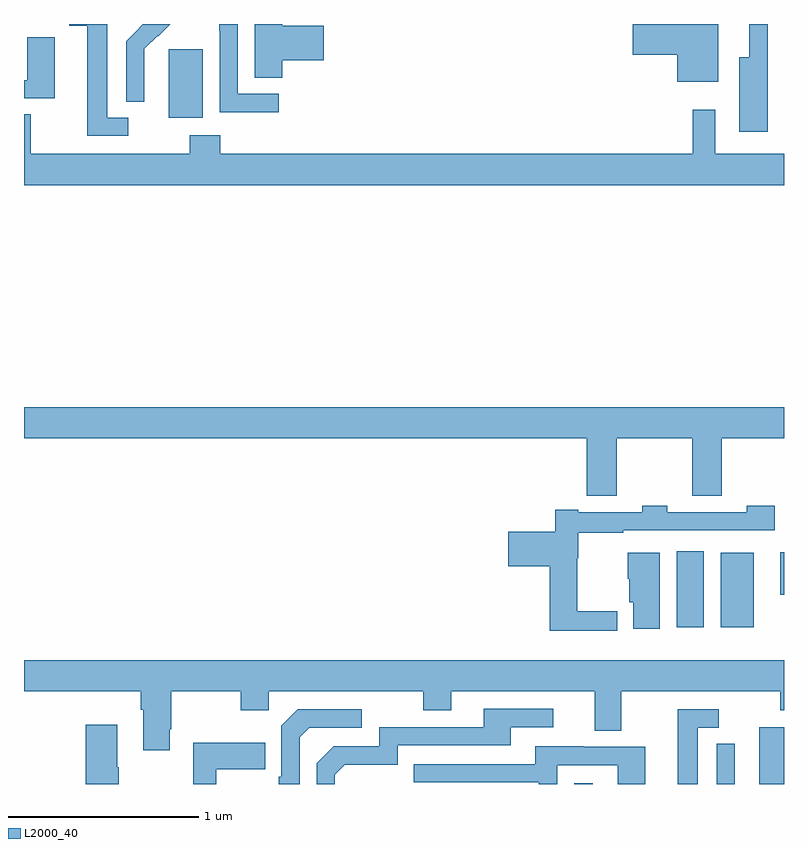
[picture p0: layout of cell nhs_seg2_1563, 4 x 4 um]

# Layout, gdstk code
import gdstk
lib = gdstk.Library(unit=1e-6, precision=1e-09)
def R(c, l, rs):  # rectangles x0, y0, x1, y1
    for r in rs: c.add(gdstk.rectangle(r[:2], r[2:], *l))
def P(c, l, *ps):  # polygons
    for p in ps: c.add(gdstk.Polygon(p, *l))
L2000_40 = (2000, 40)

nhs_seg2_1563 = lib.new_cell('nhs_seg2_1563')
R(nhs_seg2_1563, L2000_40, [(193.896,661.8,193.993,661.804), (194.87,661.8,195,662.098), (194.435,662.624,194.578,663.025), (194.666,662.624,194.842,663.016), (194.981,662.795,195,663.019), (191.762,665.306,191.941,665.667)])
P(nhs_seg2_1563, L2000_40, [(192.359,665.609),(192.577,665.609),(192.577,665.792),(192.359,665.792),(192.359,665.8),(192.215,665.8),(192.215,665.518),(192.359,665.518)],
  [(194.914,665.8),(194.816,665.8),(194.816,665.626),(194.765,665.626),(194.765,665.234),(194.914,665.234)],
  [(194.653,665.8),(194.204,665.8),(194.204,665.639),(194.438,665.639),(194.438,665.495),(194.653,665.495)],
  [(191.548,665.307),(191.437,665.307),(191.437,665.8),(191.237,665.8),(191.237,665.792),(191.333,665.792),(191.333,665.211),(191.548,665.211)],
  [(192.34,665.433),(192.126,665.433),(192.126,665.8),(192.028,665.8),(192.028,665.764),(192.03,665.764),(192.03,665.335),(192.34,665.335)],
  [(191.634,665.546),(191.633,665.546),(191.633,665.669),(191.703,665.739),(191.706,665.736),(191.77,665.8),(191.626,665.8),(191.61,665.784),(191.611,665.783),(191.538,665.71),(191.538,665.392),(191.634,665.392)],
  [(191.161,665.729),(191.016,665.729),(191.016,665.505),(191,665.505),(191,665.409),(191.161,665.409)],
  [(195,665.116),(194.637,665.116),(194.637,665.35),(194.521,665.35),(194.521,665.116),(192.032,665.116),(192.032,665.215),(191.872,665.215),(191.872,665.116),(191.035,665.116),(191.035,665.324),(191,665.324),(191,664.952),(195,664.952)],
  [(194.12,663.62),(194.518,663.62),(194.518,663.316),(194.672,663.316),(194.672,663.62),(195,663.62),(195,663.784),(191,663.784),(191,663.62),(193.961,663.62),(193.961,663.316),(194.12,663.316)],
  [(194.122,662.708),(193.912,662.708),(193.912,662.988),(193.918,662.988),(193.918,663.123),(194.153,663.123),(194.153,663.135),(194.95,663.135),(194.95,663.264),(194.805,663.264),(194.805,663.231),(194.385,663.231),(194.385,663.264),(194.253,663.264),(194.253,663.231),(193.918,663.231),(193.918,663.244),(193.797,663.244),(193.797,663.128),(193.548,663.128),(193.548,662.945),(193.766,662.945),(193.766,662.606),(194.122,662.606)],
  [(194.347,663.016),(194.177,663.016),(194.177,662.88),(194.186,662.88),(194.186,662.757),(194.207,662.757),(194.207,662.616),(194.347,662.616)],
  [(191.767,662.089),(191.775,662.089),(191.775,662.288),(192.142,662.288),(192.142,662.189),(192.288,662.189),(192.288,662.288),(193.102,662.288),(193.102,662.189),(193.249,662.189),(193.249,662.288),(194.003,662.288),(194.003,662.08),(194.143,662.08),(194.143,662.288),(194.98,662.288),(194.98,662.189),(195,662.189),(195,662.452),(191,662.452),(191,662.288),(191.615,662.288),(191.615,662.192),(191.627,662.192),(191.627,661.977),(191.767,661.977)],
  [(192.636,661.848),(192.689,661.901),(192.966,661.901),(192.966,662.004),(193.561,662.004),(193.561,662.1),(193.786,662.1),(193.786,662.196),(193.421,662.196),(193.421,662.1),(192.87,662.1),(192.87,661.998),(192.63,661.998),(192.54,661.908),(192.54,661.8),(192.636,661.8)],
  [(192.45,662.046),(192.501,662.097),(192.778,662.097),(192.778,662.193),(192.441,662.193),(192.354,662.106),(192.354,661.837),(192.342,661.837),(192.342,661.8),(192.45,661.8)],
  [(194.545,662.097),(194.656,662.097),(194.656,662.193),(194.441,662.193),(194.441,661.8),(194.545,661.8)],
  [(191.499,661.889),(191.491,661.889),(191.491,662.113),(191.324,662.113),(191.324,661.8),(191.499,661.8)],
  [(192.013,661.877),(192.269,661.877),(192.269,662.017),(191.892,662.017),(191.892,661.8),(192.013,661.8)],
  [(194.741,661.858),(194.742,661.858),(194.742,662.012),(194.646,662.012),(194.646,661.8),(194.741,661.8)],
  [(193.806,661.899),(194.124,661.899),(194.124,661.8),(194.269,661.8),(194.269,661.995),(193.945,661.995),(193.945,661.999),(193.691,661.999),(193.691,661.905),(193.051,661.905),(193.051,661.809),(193.71,661.809),(193.71,661.8),(193.806,661.8)])

lib.write_gds('nhs_seg2_1563.gds')
